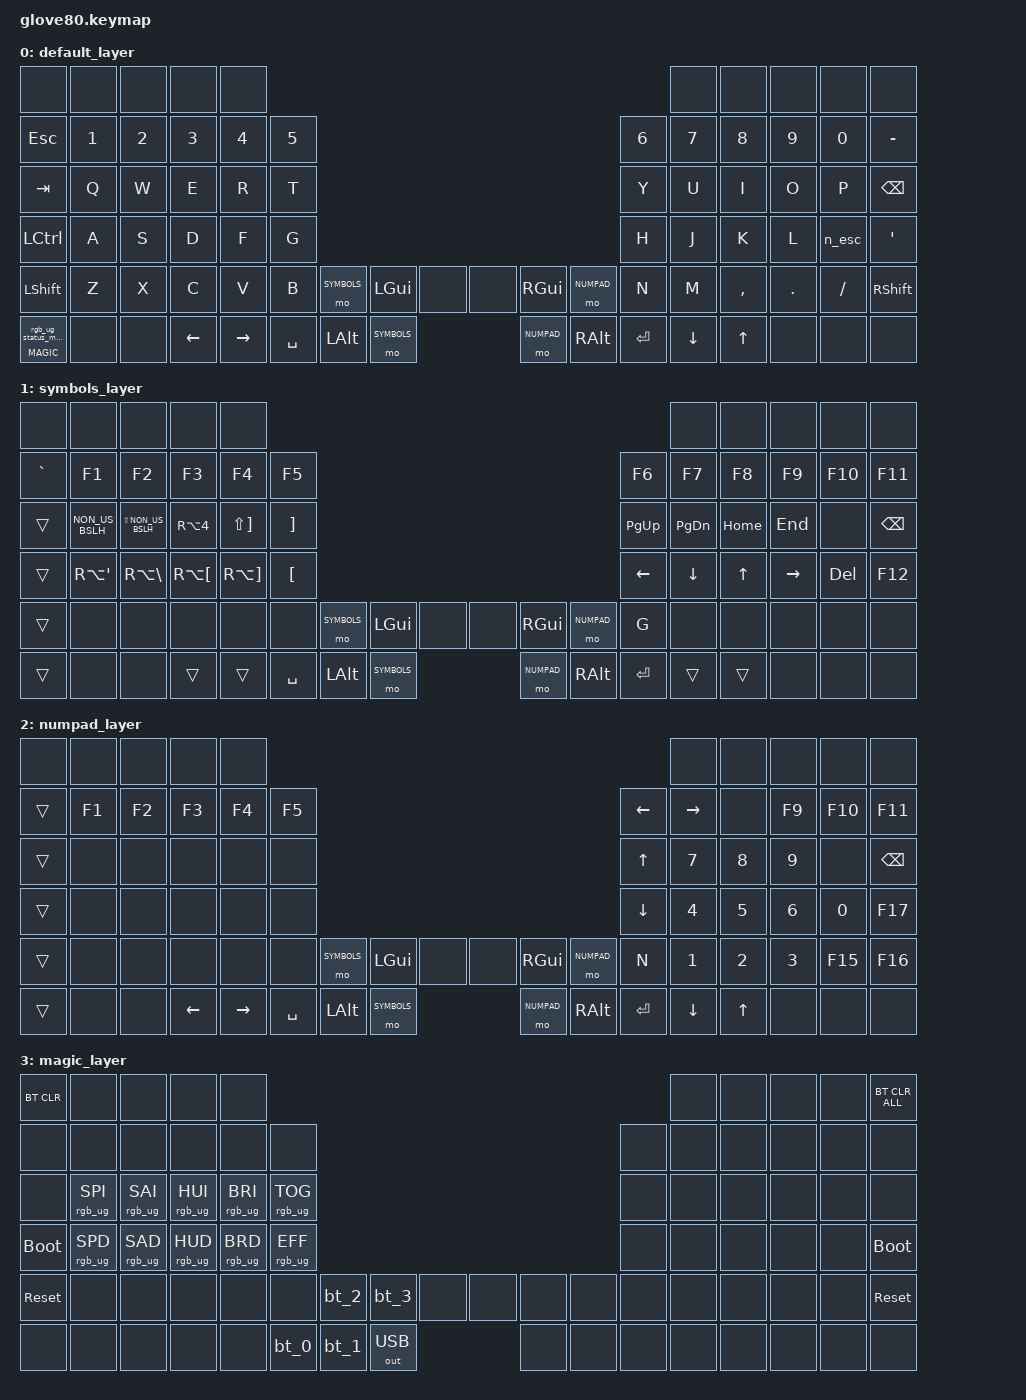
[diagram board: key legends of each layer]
/*
 * Copyright (c) 2020 The ZMK Contributors
 *
 * SPDX-License-Identifier: MIT
 */

#include <behaviors.dtsi>
#include <dt-bindings/zmk/keys.h>
#include <dt-bindings/zmk/bt.h>
#include <dt-bindings/zmk/ext_power.h>
#include <dt-bindings/zmk/outputs.h>
#include <dt-bindings/zmk/rgb.h>

#define HYPER LC(LS(LG(LALT)))

// layers
#define DEFAULT 0
#define SYMBOLS 1
#define NUMPAD 2
#define MAGIC 3

/ {
    behaviors {
		n_esc: tap_dance_0 {
            compatible = "zmk,behavior-tap-dance";
            label = "N_ESC_TAP_DANCE";
            #binding-cells = <0>;
            tapping-term-ms = <200>;
            bindings = <&kp SEMI>, <&kp ESC>;
		};

        magic: magic_hold_tap {
            compatible = "zmk,behavior-hold-tap";
            label = "MAGIC_HOLD_TAP";
            #binding-cells = <2>;
            flavor = "tap-preferred";
            tapping-term-ms = <200>;
            bindings = <&mo>, <&rgb_ug_status_macro>;
        };
    };

    macros {
        rgb_ug_status_macro: rgb_ug_status_macro_0 {
            label = "RGB_UG_STATUS";
            compatible = "zmk,behavior-macro";
            #binding-cells = <0>;
            bindings
                = <&rgb_ug RGB_STATUS>;
        };

        bt_0: bt_profile_macro_0 {
            label = "BT_0";
            compatible = "zmk,behavior-macro";
            #binding-cells = <0>;
            bindings
                = <&out OUT_BLE>,
                  <&bt BT_SEL 0>;
        };

        bt_1: bt_profile_macro_1 {
            label = "BT_1";
            compatible = "zmk,behavior-macro";
            #binding-cells = <0>;
            bindings
                = <&out OUT_BLE>,
                  <&bt BT_SEL 1>;
        };

        bt_2: bt_profile_macro_2 {
            label = "BT_2";
            compatible = "zmk,behavior-macro";
            #binding-cells = <0>;
            bindings
                = <&out OUT_BLE>,
                  <&bt BT_SEL 2>;
        };

        bt_3: bt_profile_macro_3 {
            label = "BT_3";
            compatible = "zmk,behavior-macro";
            #binding-cells = <0>;
            bindings
                = <&out OUT_BLE>,
                  <&bt BT_SEL 3>;
        };
    };

    keymap {
        compatible = "zmk,keymap";

        default_layer {
			// -------------------------------------------------------------------------------------------------------------------------------------------
			// |  --   |  -- |  -- |  --  |  --  |                                                               |  --   |  --   |  --  |  --  |   --  |
			// |  ESC  |  1  |  2  |  3   |  4   |  5   |                                                 |  6   |   7   |   8   |  9   |   0   |  '   |
			// |  TAB  |  Q  |  W  |  E   |  R   |  T   |                                                 |  Y   |   U   |   I   |  O   |   P   | BSPC |
			// | CTRL  |  A  |  S  |  D   |  F   |  G   |                                                 |  H   |   J   |   K   |  L   | ;/ESC |  '   |
			// | SHIFT |  Z  |  X  |  C   |  V   |  B   |   SYM   | LGUI | --  | --  | RGUI |  NUM  |     |  N   |  M   |   ,   |  .   |   -   | SHIFT |
			// | MAGIC |     |     | LEFT | RIGHT|      |  SPACE  | ALT | SYM | NUM  | RALT |  RET  |     | DOWN |  UP  |       |      |       |
			// -------------------------------------------------------------------------------------------------------------------------------------------

            bindings = <
            &none          &none    &none       &none       &none                                                                                            &none   &none       &none       &none       &none
            &kp ESC        &kp N1   &kp N2      &kp N3      &kp N4      &kp N5                                                                       &kp N6  &kp N7  &kp N8      &kp N9      &kp N0      &kp MINUS
            &kp TAB        &kp Q    &kp W       &kp E       &kp R       &kp T                                                                        &kp Y   &kp U   &kp I       &kp O       &kp P       &kp BSPC
            &kp LCTRL      &kp A    &kp S       &kp D       &kp F       &kp G                                                                        &kp H   &kp J   &kp K       &kp L       &n_esc      &kp SQT
            &kp LSHFT      &kp Z    &kp X       &kp C       &kp V       &kp B   &mo SYMBOLS &kp LGUI  &none         &none      &kp RGUI  &mo NUMPAD  &kp N   &kp M   &kp COMMA   &kp DOT     &kp FSLH    &kp RSHFT
            &magic MAGIC 0 &none    &none       &kp LEFT    &kp RIGHT           &kp SPACE   &kp LALT  &mo SYMBOLS   &mo NUMPAD &kp RALT  &kp RET             &kp DOWN &kp UP     &none       &none       &none
            >;
        };




        symbols_layer {
            bindings = <
            &none          &none           &none               &none          &none                                                                                             &none     &none     &none       &none       &none
            &kp GRAVE      &kp F1          &kp F2              &kp F3         &kp F4       &kp F5                                                                     &kp F6    &kp F7    &kp F8    &kp F9      &kp F10     &kp F11
            &trans         &kp NON_US_BSLH &kp LS(NON_US_BSLH) &kp RA(N4)     &kp LS(RBKT) &kp RBKT                                                                   &kp PG_UP &kp PG_DN &kp HOME  &kp END     &none       &kp BSPC
            &trans         &kp RA(SQT)     &kp RA(BSLH)        &kp RA(LBKT)   &kp RA(RBKT) &kp LBKT                                                                   &kp LEFT  &kp DOWN  &kp UP    &kp RIGHT   &kp DEL     &kp F12
            &trans         &none           &none               &none          &none        &none   &mo SYMBOLS  &kp LGUI  &none       &none      &kp RGUI &mo NUMPAD  &kp G     &none     &none     &none       &none       &none
            &trans         &none           &none               &trans         &trans               &kp SPACE    &kp LALT  &mo SYMBOLS  &mo NUMPAD &kp RALT &kp RET              &trans    &trans    &none       &none       &none
            >;
        };

        numpad_layer {
            bindings = <
            &none          &none    &none       &none       &none                                                                                             &none     &none   &none   &none    &none
            &trans         &kp F1   &kp F2      &kp F3      &kp F4      &kp F5                                                                       &kp LEFT &kp RIGHT &none   &kp F9  &kp F10  &kp F11
            &trans         &none    &none       &none       &none       &none                                                                        &kp UP   &kp N7    &kp N8  &kp N9  &none    &kp BSPC 
            &trans         &none    &none       &none       &none       &none                                                                        &kp DOWN &kp N4    &kp N5  &kp N6  &kp N0   &kp F17
            &trans         &none    &none       &none       &none       &none   &mo SYMBOLS  &kp LGUI  &none        &none       &kp RGUI &mo NUMPAD  &kp N    &kp N1    &kp N2  &kp N3  &kp F15  &kp F16
            &trans         &none    &none       &kp LEFT    &kp RIGHT           &kp SPACE    &kp LALT  &mo SYMBOLS  &mo NUMPAD  &kp RALT &kp RET     &kp DOWN &kp UP    &none   &none   &none
            >;
        };

        magic_layer {
            bindings = <
            &bt BT_CLR        &none               &none           &none           &none                                                                                                           &none      &none      &none      &none      &bt BT_CLR_ALL
            &none             &none               &none           &none           &none           &none                                                                                &none      &none      &none      &none      &none      &none
            &none             &rgb_ug RGB_SPI     &rgb_ug RGB_SAI &rgb_ug RGB_HUI &rgb_ug RGB_BRI &rgb_ug RGB_TOG                                                                      &none      &none      &none      &none      &none      &none
            &bootloader       &rgb_ug RGB_SPD     &rgb_ug RGB_SAD &rgb_ug RGB_HUD &rgb_ug RGB_BRD &rgb_ug RGB_EFF                                                                      &none      &none      &none      &none      &none      &bootloader
            &sys_reset        &none               &none           &none           &none           &none           &bt_2     &bt_3     &none            &none     &none     &none       &none      &none      &none      &none      &none      &sys_reset
            &none             &none               &none           &none           &none                           &bt_0     &bt_1     &out OUT_USB     &none     &none     &none                  &none      &none      &none      &none      &none
            >;
        };

    };
};
